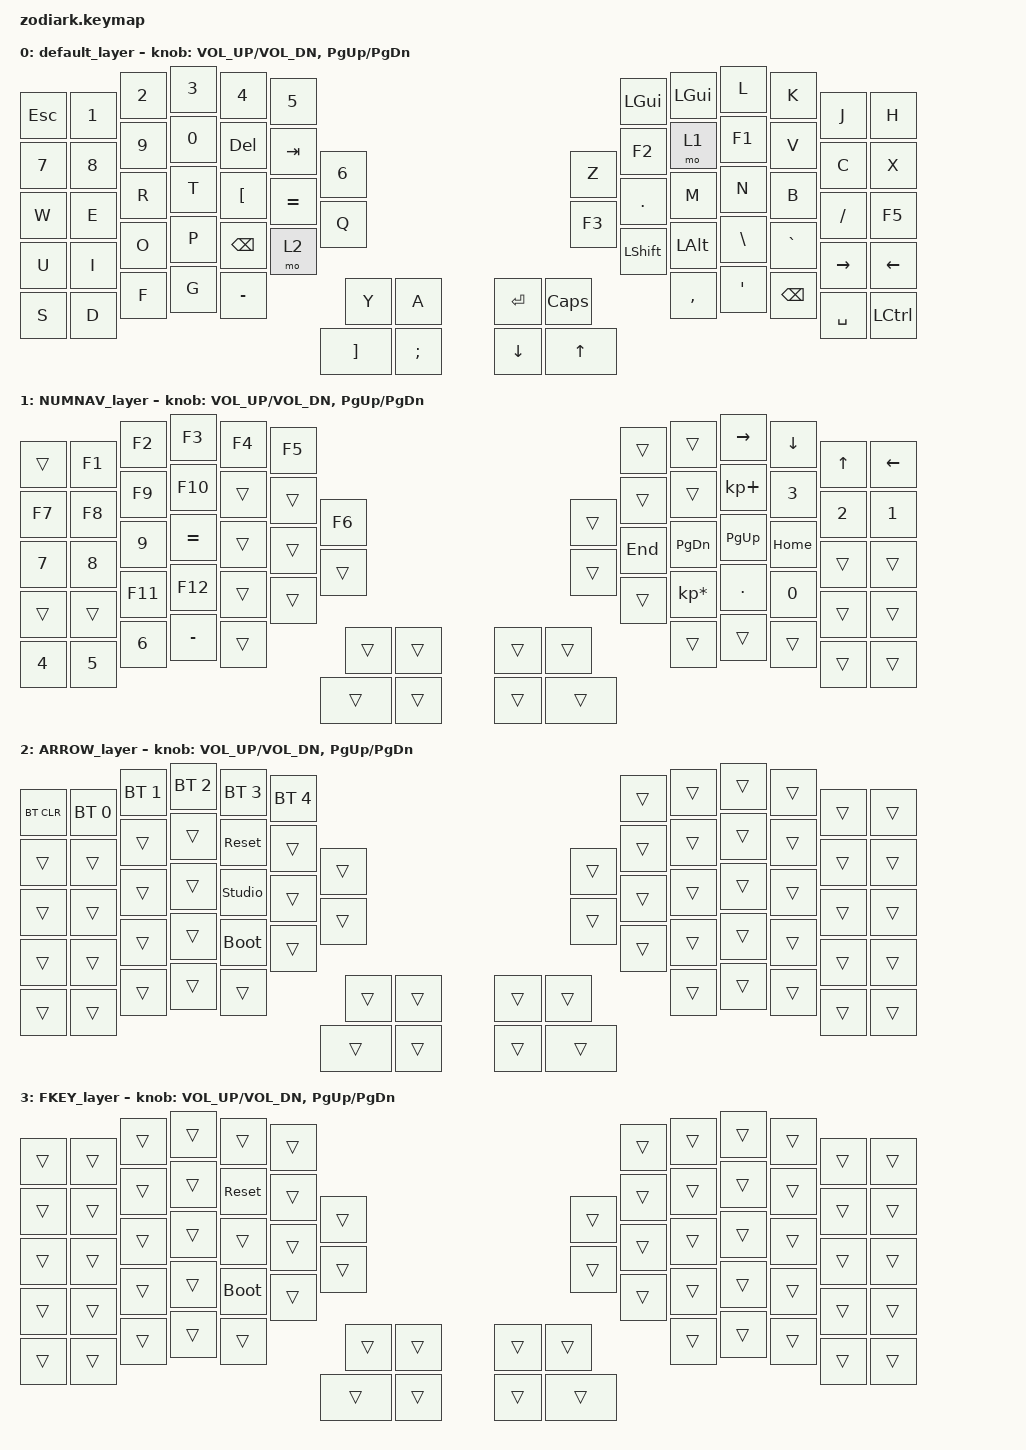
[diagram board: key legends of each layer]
/*
 * Copyright (c) 2020 The ZMK Contributors
 *
 * SPDX-License-Identifier: MIT
 */

#include <behaviors.dtsi>
#include <dt-bindings/zmk/keys.h>
#include <dt-bindings/zmk/bt.h>
#include <dt-bindings/zmk/mouse.h>

#define DEFAULT 0
#define NUMNAV 1 
#define ARROW 2 
#define FKEY 3



/ {
    keymap {
        compatible = "zmk,keymap";

        default_layer {
// ------------------------------------------------------------------------------------------------------------
// |  ESC  |  1  |  2  |  3   |  4   |  5   |                                  |  6   |  7    |  8    |  9   |   0   | DEL   |
// |  TAB  |  Q  |  W  |  E   |  R   |  T   |   [    |                 |   ]   |  Y   |  U    |  I    |  O   |   P   | BSPC  |
// |layer1 |  A  |  S  |  D   |  F   |  G   |   -    |                 |   =   |   ;  |  H    |  J    |  K   |  L    | LGUI  |
// | SHIFT |  Z  |  X  |  C   |  V   |  F1  | layer2 | F2    | | F3    |  F5   |  /   |  B    |  N    |  M   |   .   | CAPS  |
// | LEFT  |RIGHT| `   | \  | | ALT  |     SHIFT     | ENTER | | ENTER |    SPACE     | BSPC  | ' "   | DOWN |  UP   | DOWN  |
            bindings = <
&kp ESC   &kp N1    &kp N2    &kp N3   &kp N4    &kp N5                                               &kp N6   &kp N7   &kp N8    &kp N9   &kp N0   &kp DEL
&kp TAB   &kp Q     &kp W     &kp E    &kp R     &kp T     &kp LBKT                         &kp EQUAL &kp Y    &kp U    &kp I     &kp O    &kp P    &kp BSPC
&mo 2     &kp A     &kp S     &kp D    &kp F     &kp G     &kp MINUS                        &kp RBKT  &kp SEMI &kp H    &kp J     &kp K    &kp L    &kp LGUI
&kp LGUI  &kp Z     &kp X     &kp C    &kp V     &kp F1    &mo 1      &kp F2      &kp F3    &kp F5    &kp FSLH &kp B    &kp N     &kp M    &kp DOT  &kp CAPS  
&kp LEFT  &kp RIGHT &kp GRAVE &kp BSLH           &kp LALT  &kp LSHFT  &kp RET     &kp LCTRL &kp SPACE &kp BSPC &kp SQT  &kp COMMA &kp UP   &kp DOWN
            >;

            sensor-bindings = <&inc_dec_kp C_VOL_UP C_VOL_DN &inc_dec_kp PG_UP PG_DN>;
        };

        NUMNAV_layer {
// ------------------------------------------------------------------------------------------------------------
// |       | F1  | F2  |  F3  |  F4  |  F5  |                                  |  F6  |  F7   |  F8   |  F9  |  F10  |       |
// |       |  7  |  8  |   9  |  =   |      |   [    |                 |   ]   |      |       |       |  F11 |  F12  |       |
// |       |  4  |  5  |   6  |  -   |      |   -    |                 |   =   |      | LEFT  |  UP   | DOWN | RIGHT |       |
// |       |  1  |  2  |   3  |  +   |      |        |       | |       |       |      | HOME  | PG UP | PG DN| END   |       |
// |       |  0  |  .  |   /  |  *   |               |       | |       |              |       |       |      |       |       |
            bindings = <
&trans     &kp F1    &kp F2    &kp F3     &kp F4      &kp F5                                   &kp F6   &kp F7   &kp F8    &kp F9      &kp F10    &trans
&trans     &trans    &kp N7    &kp N8     &kp N9      &kp EQUAL   &trans                 &trans   &trans   &trans   &trans    &kp F11     &kp F12    &trans
&trans     &trans    &kp N4    &kp N5     &kp N6      &kp MINUS   &trans                 &trans   &trans   &kp LEFT &kp UP    &kp DOWN    &kp RIGHT  &trans
&trans     &trans    &kp N1    &kp N2     &kp N3      &kp KP_PLUS &trans &trans  &trans  &trans   &trans   &kp HOME &kp PG_UP &kp PG_DN   &kp END    &trans
&trans     &trans    &kp N0    &kp DOT    &kp KP_MULTIPLY         &trans &trans  &trans  &trans            &trans   &trans    &trans      &trans     &trans
            >;

            sensor-bindings = <&inc_dec_kp C_VOL_UP C_VOL_DN &inc_dec_kp PG_UP PG_DN>;
        };

        ARROW_layer {
// ------------------------------------------------------------------------------------------------------------
// |BTCLR  | BT1 | BT2 |  BT3 |  BT4 |  BT5 |                                  |      |       |       |      |       | RESET |
// |       |     |     |      |      |      |Studio  |                 |       |      |       |       |      |       |BLOADER|
// |       |     |     |      |      |      |        |                 |       |      |       |       |      |       |       |
// |       |     |     |      |      |      |        |       | |       |       |      |       |       |      |       |       |
// |       |     |     |      |      |               |       | |       |              |       |       |      |       |       |
            bindings = <
&bt BT_CLR &bt BT_SEL 0 &bt BT_SEL 1 &bt BT_SEL 2 &bt BT_SEL 3 &bt BT_SEL 4                          &trans &trans &trans &trans &trans &sys_reset
&trans   &trans        &trans        &trans       &trans      &trans  &studio_unlock         &trans  &trans &trans &trans &trans &trans &bootloader
&trans   &trans        &trans        &trans       &trans      &trans  &trans                 &trans  &trans &trans &trans &trans &trans &trans
&trans   &trans        &trans        &trans       &trans      &trans  &trans &trans  &trans  &trans  &trans &trans &trans &trans &trans &trans
&trans   &trans        &trans        &trans       &trans         &trans      &trans  &trans      &trans     &trans &trans &trans &trans &trans
            >;

            sensor-bindings = <&inc_dec_kp C_VOL_UP C_VOL_DN &inc_dec_kp PG_UP PG_DN>;
        };
        FKEY_layer {
// ------------------------------------------------------------------------------------------------------------
// |       |     |     |      |      |      |                                  |      |       |       |      |       |       |
// |       |     |     |      |      |      |        |                 |       |      |       |       |      |       |       |
// |       |     |     |      |      |      |        |                 |       |      |       |       |      |       |       |
// |       |     |     |      |      |      |        |       | |       |       |      |       |       |      |       |       |
// |       |     |     |      |      |               |       | |       |              |       |       |      |       |       |
            bindings = <
&trans   &trans        &trans        &trans       &trans      &trans                                 &trans &trans &trans &trans &trans &sys_reset
&trans   &trans        &trans        &trans       &trans      &trans  &trans         &trans  &trans &trans &trans &trans &trans &bootloader
&trans   &trans        &trans        &trans       &trans      &trans  &trans                 &trans  &trans &trans &trans &trans &trans &trans
&trans   &trans        &trans        &trans       &trans      &trans  &trans &trans  &trans  &trans  &trans &trans &trans &trans &trans &trans
&trans   &trans        &trans        &trans       &trans         &trans      &trans  &trans      &trans     &trans &trans &trans &trans &trans
            >;

            sensor-bindings = <&inc_dec_kp C_VOL_UP C_VOL_DN &inc_dec_kp PG_UP PG_DN>;
        };
        extra1 {
            status = "reserved";
        };

        extra2 {
            status = "reserved";
        };
    };
};
